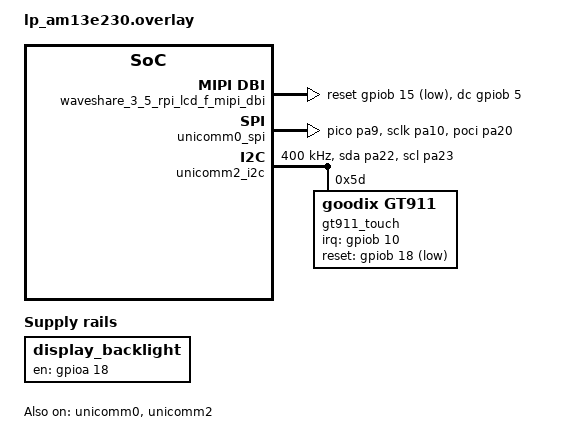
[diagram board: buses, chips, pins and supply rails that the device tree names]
/*
 * Copyright (c) 2026 Texas Instruments
 *
 * SPDX-License-Identifier: Apache-2.0
 *
 * Waveshare 3.5" RPi LCD (F) on LP-AM13E230 Rev E2.
 *
 * Panel RPi 40-pin → LP-AM13E230 BoosterPack header → AM13E23019 pin
 * ──────────────────────────────────────────────────────────────────
 * VCC (5V)      pin 4   →  J3-21  (5V rail)
 * GND           pin 6   →  J3-22  (GND)
 * SPI MOSI      pin 19  →  J2-15  PB10  UC3 TX/PICO
 * SPI SCLK      pin 23  →  J1-7   PB5   UC3 SCLK/RX
 * SPI CS        pin 24  →  J2-19  PA21  UC3 CTS/CS0
 * SPI MISO*     pin 21  →  J2-14  PA20  UC3 RTS/POCI  (* write-only, optional)
 * ST7796S DC    pin 15  →  J4-35  PA25  GPIO
 * ST7796S RST   pin 13  →  J3-26  PA17  GPIO
 * Backlight EN  pin 12  →  J3-24  PA18  GPIO
 * GT911 SDA     pin 3   →  J1-10  PA22  UC2 I2C SDA  (2.2 kΩ pull-up J18)
 * GT911 SCL     pin 5   →  J1-9   PA23  UC2 I2C SCL  (2.2 kΩ pull-up J17)
 * GT911 INT     pin 7   →  J2-11  PB11  GPIO
 * GT911 RST     pin 11  →  J3-23  PA16  GPIO
 *
 * Jumpers J17 and J18 must be installed (default) for I2C pull-ups.
 * PA6 (BSL INVOKE), PA8 (EQEP J5), PA13 (SWDIO) are NOT on BoosterPack
 * headers and cannot be used — this overlay avoids all three.
 */

#include <zephyr/dt-bindings/i2c/i2c.h>

&waveshare_3_5_rpi_lcd_f_mipi_dbi {
	dc-gpios    = <&gpiob 5 GPIO_ACTIVE_HIGH>;
	reset-gpios = <&gpiob 15 GPIO_ACTIVE_LOW>;
	spi-dev     = <&unicomm0_spi>;
};

&st7796s_display {
	mipi-max-frequency = <25000000>;
};

/ {
	display_backlight: display-backlight {
		compatible = "regulator-fixed";
		regulator-name = "display-backlight";
		enable-gpios = <&gpioa 18 GPIO_ACTIVE_HIGH>;
		regulator-boot-on;
	};
};

&gpioa {
	status = "okay";
};

&gpiob {
	status = "okay";
};

/* UNICOMM3 as SPI for ST7796S — BoosterPack standard SPI pins */
&unicomm0 {
	status = "okay";
};

/*
 * CS is software (GPIO) controlled so the SPI context can keep it asserted
 * throughout the entire pixel-data burst.  PA21 is NOT muxed to the UNICOMM
 * CTS/CS0 function — it stays as a plain GPIO driven by the SPI context.
 */
&unicomm0_spi {
	status = "okay";
	pinctrl-0 = <&uc0_tx_sda_pico_pa9
	             &uc0_rx_scl_sclk_pa10
	             &uc0_rts_poci_pa20>;
	pinctrl-names = "default";
	cs-gpios = <&gpioa 21 GPIO_ACTIVE_LOW>;
	/* SPI frequency is set via mipi-max-frequency on the display node */
};

/* UNICOMM2 as I2C for GT911 — PA22/PA23 have board pull-ups (J18/J17) */
&unicomm2 {
	status = "okay";
};

&unicomm2_i2c {
	status = "okay";
	pinctrl-0 = <&uc2_tx_sda_pa22 &uc2_rx_scl_pa23>;
	pinctrl-names = "default";
	clock-frequency = <I2C_BITRATE_FAST>;

	gt911_touch: gt911@5d {
		compatible = "goodix,gt911";
		reg = <0x5d>;
		alt-addr = <0x14>;
		irq-gpios   = <&gpiob 10 GPIO_ACTIVE_HIGH>;
		reset-gpios = <&gpiob 18 GPIO_ACTIVE_LOW>;
		screen-width  = <320>;
		screen-height = <480>;
	};
};

&sram0_1_2 {
	reg = <0x20000000 DT_SIZE_K(128)>;
};
